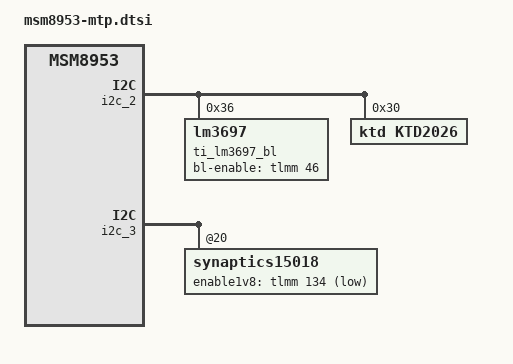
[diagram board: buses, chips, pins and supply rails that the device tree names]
/*
 * Copyright (c) 2015-2019, The Linux Foundation. All rights reserved.
 *
 * This program is free software; you can redistribute it and/or modify
 * it under the terms of the GNU General Public License version 2 and
 * only version 2 as published by the Free Software Foundation.
 *
 * This program is distributed in the hope that it will be useful,
 * but WITHOUT ANY WARRANTY; without even the implied warranty of
 * MERCHANTABILITY or FITNESS FOR A PARTICULAR PURPOSE.  See the
 * GNU General Public License for more details.
 */

#include "msm8953-mdss-panels.dtsi"

&mdss_dsi0 {
	qcom,dsi-pref-prim-pan = <&dsi_oppo16027jdi_r63452_1080p_cmd>;

	qcom,platform-enable-gpio = <&tlmm 38 0>;
	qcom,platform-bklight-en-gpio = <&tlmm 34 0>;
};

&labibb {
	qcom,qpnp-labibb-mode = "lcd";
};

&i2c_2 {
	ti_lm3697_bl@36 {
		compatible = "lm3697";
		reg = <0x36>;
		ti,bl-enable-gpio = <&tlmm 46 0x00>;
	};

	ktd2026@30 {
		status = "okay";
		compatible = "ktd,ktd2026";
		reg = <0x30>;
		ktd2026,max_brightness = <0x18>;
	};
};

&i2c_3 { /* BLSP1 QUP3 */
	synaptics15018@20 {
		synaptics,tx-rx-num = <18 32>;
		synaptics,enable1v8-gpio = <&tlmm 134 0x1>;
	};
};

&soc {
	fpc_fpc1020 {
		fpc,reset-gpio = <&tlmm 140 0x00>;
	};
};
